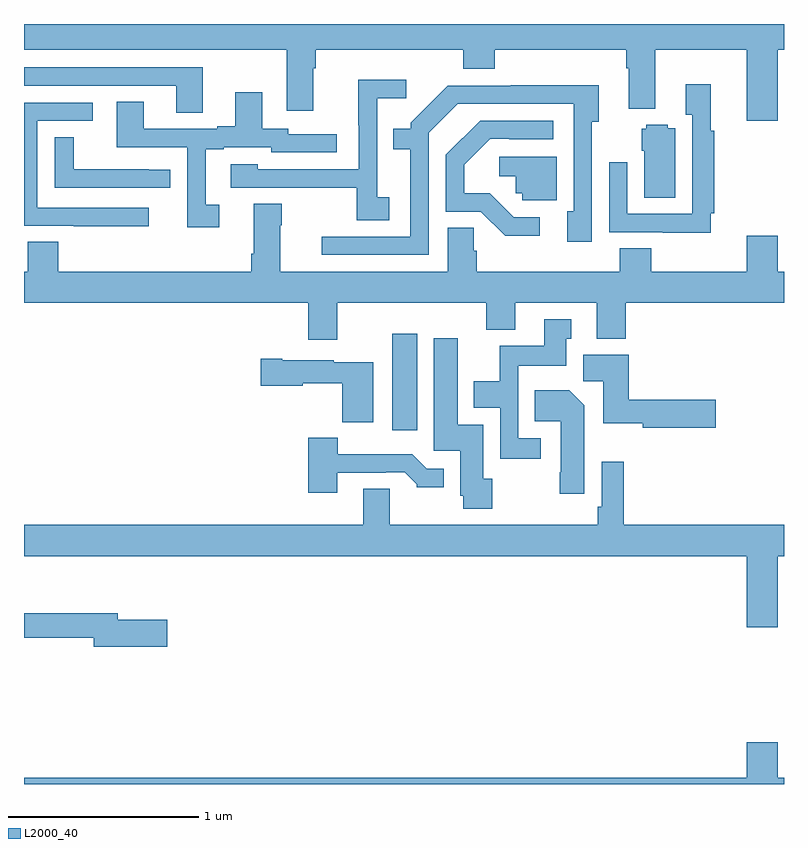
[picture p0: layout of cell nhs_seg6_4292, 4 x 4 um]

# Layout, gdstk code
import gdstk
lib = gdstk.Library(unit=1e-6, precision=1e-09)
def R(c, l, rs):  # rectangles x0, y0, x1, y1
    for r in rs: c.add(gdstk.rectangle(r[:2], r[2:], *l))
def P(c, l, *ps):  # polygons
    for p in ps: c.add(gdstk.Polygon(p, *l))
L2000_40 = (2000, 40)

nhs_seg6_4292 = lib.new_cell('nhs_seg6_4292')
R(nhs_seg6_4292, L2000_40, [(366.938,917.361,367.069,917.869)])
P(nhs_seg6_4292, L2000_40, [(368.968,919.364),(369,919.364),(369,919.5),(365,919.5),(365,919.364),(366.383,919.364),(366.383,919.044),(366.523,919.044),(366.523,919.268),(366.536,919.268),(366.536,919.364),(367.313,919.364),(367.313,919.265),(367.478,919.265),(367.478,919.364),(368.171,919.364),(368.171,919.268),(368.183,919.268),(368.183,919.055),(368.323,919.055),(368.323,919.364),(368.804,919.364),(368.804,918.99),(368.968,918.99)],
  [(365.941,919.272),(365,919.272),(365,919.176),(365.801,919.176),(365.801,919.033),(365.941,919.033)],
  [(366.922,918.588),(366.858,918.588),(366.858,919.109),(367.012,919.109),(367.012,919.207),(366.76,919.207),(366.76,918.968),(366.762,918.968),(366.762,918.735),(366.231,918.735),(366.231,918.763),(366.087,918.763),(366.087,918.639),(366.445,918.639),(366.445,918.637),(366.75,918.637),(366.75,918.466),(366.922,918.466)],
  [(368.615,918.505),(368.633,918.505),(368.633,918.938),(368.615,918.938),(368.615,919.183),(368.483,919.183),(368.483,919.022),(368.517,919.022),(368.517,918.501),(368.175,918.501),(368.175,918.772),(368.079,918.772),(368.079,918.405),(368.363,918.405),(368.363,918.401),(368.615,918.401)],
  [(367.131,918.927),(367.284,919.08),(367.893,919.08),(367.893,918.514),(367.859,918.514),(367.859,918.354),(367.989,918.354),(367.989,918.986),(368.026,918.986),(368.026,919.178),(367.561,919.178),(367.561,919.176),(367.23,919.176),(367.035,918.981),(367.035,918.949),(366.943,918.949),(366.943,918.84),(367.034,918.84),(367.034,918.381),(366.567,918.381),(366.567,918.285),(367.131,918.285)],
  [(366.028,918.549),(365.956,918.549),(365.956,918.84),(366.052,918.84),(366.052,918.852),(366.3,918.852),(366.3,918.825),(366.646,918.825),(366.646,918.921),(366.39,918.921),(366.39,918.948),(366.253,918.948),(366.253,919.141),(366.113,919.141),(366.113,918.961),(366.017,918.961),(366.017,918.948),(365.629,918.948),(365.629,919.091),(365.489,919.091),(365.489,918.852),(365.859,918.852),(365.859,918.429),(366.028,918.429)],
  [(365.656,918.534),(365.07,918.534),(365.07,918.99),(365.362,918.99),(365.362,919.086),(365,919.086),(365,918.438),(365.263,918.438),(365.263,918.436),(365.656,918.436)],
  [(367.714,918.483),(367.578,918.483),(367.451,918.61),(367.318,918.61),(367.318,918.76),(367.455,918.897),(367.555,918.897),(367.555,918.894),(367.786,918.894),(367.786,918.99),(367.4,918.99),(367.221,918.811),(367.221,918.513),(367.404,918.513),(367.532,918.386),(367.714,918.386)],
  [(368.428,918.952),(368.388,918.952),(368.388,918.97),(368.274,918.97),(368.274,918.948),(368.252,918.948),(368.252,918.834),(368.264,918.834),(368.264,918.586),(368.428,918.586)],
  [(365.77,918.734),(365.657,918.734),(365.657,918.735),(365.262,918.735),(365.262,918.905),(365.163,918.905),(365.163,918.639),(365.77,918.639)],
  [(367.804,918.801),(367.5,918.801),(367.5,918.698),(367.587,918.698),(367.587,918.609),(367.623,918.609),(367.623,918.573),(367.804,918.573)],
  [(369,918.196),(368.968,918.196),(368.968,918.385),(368.804,918.385),(368.804,918.196),(368.3,918.196),(368.3,918.32),(368.135,918.32),(368.135,918.196),(367.382,918.196),(367.382,918.306),(367.367,918.306),(367.367,918.428),(367.229,918.428),(367.229,918.196),(366.349,918.196),(366.349,918.44),(366.357,918.44),(366.357,918.553),(366.209,918.553),(366.209,918.292),(366.197,918.292),(366.197,918.196),(365.18,918.196),(365.18,918.353),(365.02,918.353),(365.02,918.196),(365,918.196),(365,918.032),(366.497,918.032),(366.497,917.838),(366.649,917.838),(366.649,918.032),(367.433,918.032),(367.433,917.891),(367.585,917.891),(367.585,918.032),(368.015,918.032),(368.015,917.843),(368.168,917.843),(368.168,918.032),(369,918.032)],
  [(367.72,917.319),(367.602,917.319),(367.602,917.702),(367.855,917.702),(367.855,917.844),(367.879,917.844),(367.879,917.947),(367.739,917.947),(367.739,917.806),(367.504,917.806),(367.504,917.62),(367.367,917.62),(367.367,917.48),(367.506,917.48),(367.506,917.211),(367.72,917.211)],
  [(367.464,917.106),(367.417,917.106),(367.417,917.392),(367.282,917.392),(367.282,917.845),(367.157,917.845),(367.157,917.253),(367.295,917.253),(367.295,917.016),(367.312,917.016),(367.312,916.95),(367.464,916.95)],
  [(368.641,917.522),(368.183,917.522),(368.183,917.758),(367.943,917.758),(367.943,917.62),(368.048,917.62),(368.048,917.399),(368.256,917.399),(368.256,917.375),(368.641,917.375)],
  [(366.838,917.719),(366.63,917.719),(366.63,917.731),(366.358,917.731),(366.358,917.739),(366.246,917.739),(366.246,917.597),(366.468,917.597),(366.468,917.609),(366.676,917.609),(366.676,917.405),(366.838,917.405)],
  [(367.948,917.494),(367.87,917.572),(367.687,917.572),(367.687,917.408),(367.826,917.408),(367.826,917.14),(367.819,917.14),(367.819,917.028),(367.948,917.028)],
  [(366.649,917.139),(366.905,917.139),(366.905,917.142),(367.004,917.142),(367.068,917.078),(367.068,917.063),(367.21,917.063),(367.21,917.16),(367.119,917.16),(367.043,917.236),(366.652,917.236),(366.652,917.323),(366.497,917.323),(366.497,917.034),(366.649,917.034)],
  [(368.968,916.7),(369,916.7),(369,916.864),(368.156,916.864),(368.156,917.197),(368.04,917.197),(368.04,916.96),(368.02,916.96),(368.02,916.864),(366.925,916.864),(366.925,917.054),(366.785,917.054),(366.785,916.864),(365,916.864),(365,916.7),(368.804,916.7),(368.804,916.326),(368.968,916.326)],
  [(365.755,916.365),(365.494,916.365),(365.494,916.399),(365,916.399),(365,916.27),(365.366,916.27),(365.366,916.223),(365.755,916.223)],
  [(369,915.532),(368.968,915.532),(368.968,915.721),(368.804,915.721),(368.804,915.532),(365,915.532),(365,915.5),(369,915.5)])

lib.write_gds('nhs_seg6_4292.gds')
